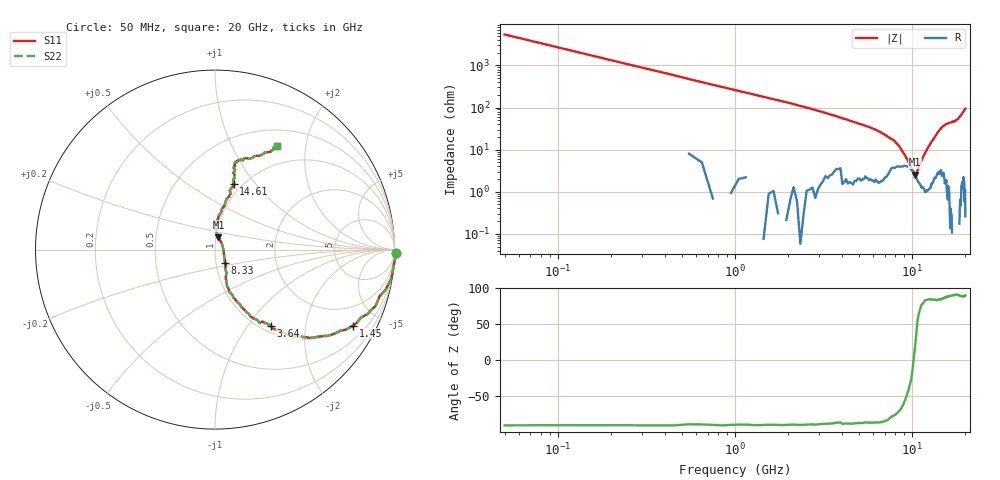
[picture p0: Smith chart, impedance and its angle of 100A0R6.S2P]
!  American Technical Ceramics  Date:  11/13/98
!  One Norden Lane
!  Huntington Station,  NY.  11746-2102
!  Tel:  (516) 622-4700  Fax:  (516) 622-4748
!  Part Number  100A0R6
!  Description: Porcelain, High Q, Low ESR
!  Application: Bypass, Coupling, Timing, Feedback
!  Tuning, Impedance Match, Blocking
# GHZ S DB R 50
! Freq  |S11|  S11 Ph  |S21|  S21 Ph  |S12|  S12 Ph  |S22|  S22 Ph
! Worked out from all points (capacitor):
!   201 points, 50 MHz to 20 GHz, reference 50 ohm
!   read as one part in series: C = 599 fF near 150 MHz
!   lowest |Z| = 2.54 ohm at 10.42 GHz (marker M1)
!   series resonance near 10.21 GHz, so ESL is about 410 pH
!   S11 on the Smith chart (normalised r, x): 50 MHz: open; 1.45 GHz: 0.97, -3.66; 3.64 GHz: 1.10, -1.30; 8.33 GHz: 1.11, -0.17; 14.61 GHz: 0.92, +0.78; 20 GHz: 0.72, +1.52
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0.05  0.08 -1.0  -34.62 89.5  -34.62 89.5  0.08 -1.0
0.15  0.04 -3.1  -24.93 87.2  -24.93 87.2  0.04 -3.1
0.25  -0.01 -5.5  -20.50 84.9  -20.50 84.9  -0.01 -5.5
0.45  -0.05 -9.6  -15.46 81.0  -15.46 81.0  -0.05 -9.6
0.95  -0.48 -19.6  -9.28 70.1  -9.28 70.1  -0.48 -19.6
1.45  -1.11 -28.8  -6.23 61.1  -6.23 61.1  -1.11 -28.8
2.34  -2.67 -41.8  -3.34 48.1  -3.34 48.1  -2.67 -41.8
3.44  -5.15 -53.2  -1.74 34.5  -1.74 34.5  -5.15 -53.2
3.64  -5.53 -53.9  -1.57 32.7  -1.57 32.7  -5.53 -53.9
4.64  -7.63 -62.1  -0.82 24.7  -0.82 24.7  -7.63 -62.1
6.73  -12.84 -70.9  -0.38 14.5  -0.38 14.5  -12.84 -70.9
7.73  -16.81 -63.4  -0.37 10.9  -0.37 10.9  -16.81 -63.4
8.33  -20.55 -52.6  -0.31 9.1  -0.31 9.1  -20.55 -52.6
9.13  -26.66 -1.1  -0.29 6.4  -0.29 6.4  -26.66 -1.1
9.53  -26.49 32.2  -0.28 5.3  -0.28 5.3  -26.49 32.2
10.03  -24.60 61.0  -0.27 4.1  -0.27 4.1  -24.60 61.0
10.42  -22.90 74.6  -0.23 3.0  -0.23 3.0  -22.90 74.6
13.42  -12.08 78.0  -0.47 -7.4  -0.47 -7.4  -12.08 78.0
14.61  -8.45 74.1  -0.94 -11.8  -0.94 -11.8  -8.45 74.1
16.71  -6.12 77.1  -1.57 -15.4  -1.57 -15.4  -6.12 77.1
18.3  -5.41 71.4  -2.03 -23.1  -2.03 -23.1  -5.41 71.4
20  -3.43 58.9  -4.03 -34.8  -4.03 -34.8  -3.43 58.9
